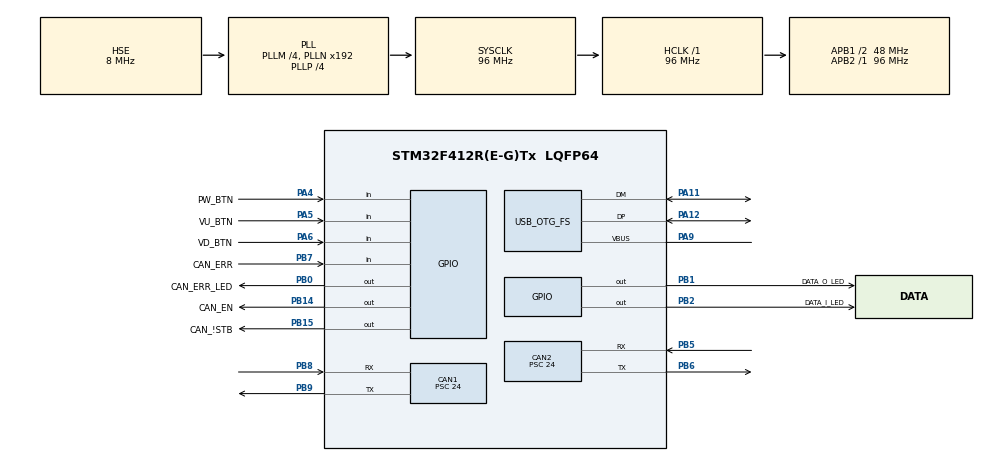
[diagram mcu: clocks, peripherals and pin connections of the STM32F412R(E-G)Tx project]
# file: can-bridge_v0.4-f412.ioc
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CAN1.ABOM=ENABLE
CAN1.BS1=CAN_BS1_13TQ
CAN1.BS2=CAN_BS2_2TQ
CAN1.CalculateBaudRate=125000
CAN1.CalculateTimeBit=8000
CAN1.CalculateTimeQuantum=500.0
CAN1.Prescaler=24
CAN1.TXFP=ENABLE
CAN2.ABOM=ENABLE
CAN2.BS1=CAN_BS1_13TQ
CAN2.BS2=CAN_BS2_2TQ
CAN2.CalculateBaudRate=125000
CAN2.CalculateTimeBit=8000
CAN2.CalculateTimeQuantum=500.0
CAN2.Prescaler=24
CAN2.TXFP=ENABLE
FREERTOS.Tasks01=defaultTask,24,128,StartDefaultTask,Default,NULL,Dynamic,NULL,NULL;sendTask50ms,16,128,sendTask50msHandler,Default,NULL,Dynamic,NULL,NULL;sendTask100ms,16,128,sendTask100msHandler,Default,NULL,Dynamic,NULL,NULL;sendTask200ms,16,128,sendTask200msHandler,Default,NULL,Dynamic,NULL,NULL;sendTask500ms,16,128,sendTask500msHandler,Default,NULL,Dynamic,NULL,NULL;sendTask1000ms,16,128,sendTask1000msHandler,Default,NULL,Dynamic,NULL,NULL;sendTask5000ms,16,128,sendTask5000msHandler,Default,NULL,Dynamic,NULL,NULL
FREERTOS.configUSE_NEWLIB_REENTRANT=1
Mcu.Family=STM32F4
Mcu.Name=STM32F412R(E-G)Tx
Mcu.Package=LQFP64
NVIC.OTG_FS_IRQn=true\:5\:0\:false\:false\:true\:true\:false\:true\:true
NVIC.PriorityGroup=NVIC_PRIORITYGROUP_4
NVIC.TIM1_UP_TIM10_IRQn=true\:15\:0\:false\:false\:true\:false\:false\:true\:true
NVIC.TimeBase=TIM1_UP_TIM10_IRQn
NVIC.TimeBaseIP=TIM1
PA11.Mode=Device_Only
PA11.Signal=USB_OTG_FS_DM
PA12.Mode=Device_Only
PA12.Signal=USB_OTG_FS_DP
PA13.Mode=JTAG_5_pins
PA13.Signal=SYS_JTMS-SWDIO
PA14.Mode=JTAG_5_pins
PA14.Signal=SYS_JTCK-SWCLK
PA15.Mode=JTAG_5_pins
PA15.Signal=SYS_JTDI
PA4.GPIO_Label=PW_BTN
PA4.Signal=GPIO_Input
PA5.GPIO_Label=VU_BTN
PA5.Signal=GPIO_Input
PA6.GPIO_Label=VD_BTN
PA6.Signal=GPIO_Input
PA9.Mode=Activate_VBUS
PA9.Signal=USB_OTG_FS_VBUS
PB0.GPIO_Label=CAN_ERR_LED
PB0.Signal=GPIO_Output
PB1.GPIO_Label=DATA_O_LED
PB1.Signal=GPIO_Output
PB14.GPIO_Label=CAN_EN
PB14.Signal=GPIO_Output
PB15.GPIO_Label=CAN_\!STB
PB15.Signal=GPIO_Output
PB2.GPIO_Label=DATA_I_LED
PB2.Signal=GPIO_Output
PB3.Mode=JTAG_5_pins
PB3.Signal=SYS_JTDO-SWO
PB4.Mode=JTAG_5_pins
PB4.Signal=SYS_JTRST
PB5.Mode=CAN_Activate
PB5.Signal=CAN2_RX
PB6.Mode=CAN_Activate
PB6.Signal=CAN2_TX
PB7.GPIO_Label=CAN_ERR
PB7.Signal=GPIO_Input
PB8.Mode=CAN_Activate
PB8.Signal=CAN1_RX
PB9.Mode=CAN_Activate
PB9.Signal=CAN1_TX
PC14-OSC32_IN.Mode=LSE-External-Oscillator
PC14-OSC32_IN.Signal=RCC_OSC32_IN
PC15-OSC32_OUT.Mode=LSE-External-Oscillator
PC15-OSC32_OUT.Signal=RCC_OSC32_OUT
PH0\ -\ OSC_IN.Mode=HSE-External-Oscillator
PH0\ -\ OSC_IN.Signal=RCC_OSC_IN
PH1\ -\ OSC_OUT.Mode=HSE-External-Oscillator
PH1\ -\ OSC_OUT.Signal=RCC_OSC_OUT
ProjectManager.HeapSize=0x200
ProjectManager.StackSize=0x400
ProjectManager.TargetToolchain=STM32CubeIDE
RCC.AHBFreq_Value=96000000
RCC.APB1CLKDivider=RCC_HCLK_DIV2
RCC.APB1Freq_Value=48000000
RCC.APB1TimFreq_Value=96000000
RCC.APB2Freq_Value=96000000
RCC.APB2TimFreq_Value=96000000
RCC.CortexFreq_Value=96000000
RCC.HCLKFreq_Value=96000000
RCC.HSE_VALUE=8000000
RCC.PLLI2SM=4
RCC.PLLI2SN=72
RCC.PLLI2SQ=3
RCC.PLLM=4
RCC.PLLP=RCC_PLLP_DIV4
RCC.PLLQ=4
RCC.SYSCLKFreq_VALUE=96000000
RCC.SYSCLKSource=RCC_SYSCLKSOURCE_PLLCLK
RCC.USBCLockSelection=RCC_CLK48CLKSOURCE_PLLI2SQ
RCC.USBFreq_Value=48000000
RCC.VCOOutputFreq_Value=384000000
USB_DEVICE.CLASS_NAME_FS=CDC
USB_DEVICE.VirtualMode=Cdc
USB_DEVICE.VirtualModeFS=Cdc_FS
USB_OTG_FS.VirtualMode=Device_Only
VP_FREERTOS_VS_CMSIS_V2.Mode=CMSIS_V2
VP_RTC_VS_RTC_Activate.Mode=RTC_Enabled
VP_RTC_VS_RTC_Calendar.Mode=RTC_Calendar
VP_SYS_VS_tim1.Mode=TIM1
VP_USB_DEVICE_VS_USB_DEVICE_CDC_FS.Mode=CDC_FS
board=custom

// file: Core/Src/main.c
/* USER CODE BEGIN Header */
/**
  ******************************************************************************
  * @file           : main.c
  * @brief          : Main program body
  ******************************************************************************
  * @attention
  *
  * Copyright (c) 2023 STMicroelectronics.
  * All rights reserved.
  *
  * This software is licensed under terms that can be found in the LICENSE file
  * in the root directory of this software component.
  * If no LICENSE file comes with this software, it is provided AS-IS.
  *
  ******************************************************************************
  */
/* USER CODE END Header */
#include "main.h"
#include "cmsis_os.h"
#include "usb_device.h"

/* USER CODE BEGIN Includes */
#include "RTC/RTC_utils.h"
#include "CAN/CAN_utils.h"
/* USER CODE END Includes */

CAN_HandleTypeDef hcan1;
CAN_HandleTypeDef hcan2;

RTC_HandleTypeDef hrtc;

/* Definitions for defaultTask */
osThreadId_t defaultTaskHandle;
const osThreadAttr_t defaultTask_attributes = {
  .name = "defaultTask",
  .stack_size = 128 * 4,
  .priority = (osPriority_t) osPriorityNormal,
};
/* Definitions for sendTask50ms */
osThreadId_t sendTask50msHandle;
const osThreadAttr_t sendTask50ms_attributes = {
  .name = "sendTask50ms",
  .stack_size = 128 * 4,
  .priority = (osPriority_t) osPriorityBelowNormal,
};
/* Definitions for sendTask100ms */
osThreadId_t sendTask100msHandle;
const osThreadAttr_t sendTask100ms_attributes = {
  .name = "sendTask100ms",
  .stack_size = 128 * 4,
  .priority = (osPriority_t) osPriorityBelowNormal,
};
/* Definitions for sendTask200ms */
osThreadId_t sendTask200msHandle;
const osThreadAttr_t sendTask200ms_attributes = {
  .name = "sendTask200ms",
  .stack_size = 128 * 4,
  .priority = (osPriority_t) osPriorityBelowNormal,
};
/* Definitions for sendTask500ms */
osThreadId_t sendTask500msHandle;
const osThreadAttr_t sendTask500ms_attributes = {
  .name = "sendTask500ms",
  .stack_size = 128 * 4,
  .priority = (osPriority_t) osPriorityBelowNormal,
};
/* Definitions for sendTask1000ms */
osThreadId_t sendTask1000msHandle;
const osThreadAttr_t sendTask1000ms_attributes = {
  .name = "sendTask1000ms",
  .stack_size = 128 * 4,
  .priority = (osPriority_t) osPriorityBelowNormal,
};
/* Definitions for sendTask5000ms */
osThreadId_t sendTask5000msHandle;
const osThreadAttr_t sendTask5000ms_attributes = {
  .name = "sendTask5000ms",
  .stack_size = 128 * 4,
  .priority = (osPriority_t) osPriorityBelowNormal,
};
/* USER CODE BEGIN PV */
Can_DataTypeDef canData = {0};
/* USER CODE END PV */

void SystemClock_Config(void);
static void MX_GPIO_Init(void);
static void MX_CAN1_Init(void);
static void MX_CAN2_Init(void);
static void MX_RTC_Init(void);
void StartDefaultTask(void *argument);
void sendTask50msHandler(void *argument);
void sendTask100msHandler(void *argument);
void sendTask200msHandler(void *argument);
void sendTask500msHandler(void *argument);
void sendTask1000msHandler(void *argument);
void sendTask5000msHandler(void *argument);

int main(void)
{

  /* MCU Configuration--------------------------------------------------------*/

  /* Reset of all peripherals, Initializes the Flash interface and the Systick. */
  HAL_Init();

  /* Configure the system clock */
  SystemClock_Config();

  /* Initialize all configured peripherals */
  MX_GPIO_Init();
  MX_CAN1_Init();
  MX_CAN2_Init();
  MX_RTC_Init();
  /* USER CODE BEGIN 2 */

  assignDefaultValues(&canData);

  if(sendCanMessage(&hcan1, &canData, 0x036) == HAL_OK)
	  canData.canErrCounter--;
  else
	  canData.canErrCounter++;

  /* USER CODE END 2 */

  /* Init scheduler */
  osKernelInitialize();

  /* Create the thread(s) */
  /* creation of defaultTask */
  defaultTaskHandle = osThreadNew(StartDefaultTask, NULL, &defaultTask_attributes);

  /* creation of sendTask50ms */
  sendTask50msHandle = osThreadNew(sendTask50msHandler, NULL, &sendTask50ms_attributes);

  /* creation of sendTask100ms */
  sendTask100msHandle = osThreadNew(sendTask100msHandler, NULL, &sendTask100ms_attributes);

  /* creation of sendTask200ms */
  sendTask200msHandle = osThreadNew(sendTask200msHandler, NULL, &sendTask200ms_attributes);

  /* creation of sendTask500ms */
  sendTask500msHandle = osThreadNew(sendTask500msHandler, NULL, &sendTask500ms_attributes);

  /* creation of sendTask1000ms */
  sendTask1000msHandle = osThreadNew(sendTask1000msHandler, NULL, &sendTask1000ms_attributes);

  /* creation of sendTask5000ms */
  sendTask5000msHandle = osThreadNew(sendTask5000msHandler, NULL, &sendTask5000ms_attributes);

  /* Start scheduler */
  osKernelStart();

  /* We should never get here as control is now taken by the scheduler */
  /* Infinite loop */
  while (1)
  {

  }
}

void SystemClock_Config(void)
{
  RCC_OscInitTypeDef RCC_OscInitStruct = {0};
  RCC_ClkInitTypeDef RCC_ClkInitStruct = {0};

  /** Configure the main internal regulator output voltage
  */
  __HAL_RCC_PWR_CLK_ENABLE();
  __HAL_PWR_VOLTAGESCALING_CONFIG(PWR_REGULATOR_VOLTAGE_SCALE1);

  /** Initializes the RCC Oscillators according to the specified parameters
  * in the RCC_OscInitTypeDef structure.
  */
  RCC_OscInitStruct.OscillatorType = RCC_OSCILLATORTYPE_LSI|RCC_OSCILLATORTYPE_HSE;
  RCC_OscInitStruct.HSEState = RCC_HSE_ON;
  RCC_OscInitStruct.LSEState = RCC_LSE_ON;
  RCC_OscInitStruct.LSIState = RCC_LSI_ON;
  RCC_OscInitStruct.PLL.PLLState = RCC_PLL_ON;
  RCC_OscInitStruct.PLL.PLLSource = RCC_PLLSOURCE_HSE;
  RCC_OscInitStruct.PLL.PLLM = 4;
  RCC_OscInitStruct.PLL.PLLN = 192;
  RCC_OscInitStruct.PLL.PLLP = RCC_PLLP_DIV4;
  RCC_OscInitStruct.PLL.PLLQ = 4;
  RCC_OscInitStruct.PLL.PLLR = 2;
  if (HAL_RCC_OscConfig(&RCC_OscInitStruct) != HAL_OK)
  {
    Error_Handler();
  }

  /** Initializes the CPU, AHB and APB buses clocks
  */
  RCC_ClkInitStruct.ClockType = RCC_CLOCKTYPE_HCLK|RCC_CLOCKTYPE_SYSCLK
                              |RCC_CLOCKTYPE_PCLK1|RCC_CLOCKTYPE_PCLK2;
  RCC_ClkInitStruct.SYSCLKSource = RCC_SYSCLKSOURCE_PLLCLK;
  RCC_ClkInitStruct.AHBCLKDivider = RCC_SYSCLK_DIV1;
  RCC_ClkInitStruct.APB1CLKDivider = RCC_HCLK_DIV2;
  RCC_ClkInitStruct.APB2CLKDivider = RCC_HCLK_DIV1;

  if (HAL_RCC_ClockConfig(&RCC_ClkInitStruct, FLASH_LATENCY_3) != HAL_OK)
  {
    Error_Handler();
  }
}

static void MX_CAN1_Init(void)
{

  hcan1.Instance = CAN1;
  hcan1.Init.Prescaler = 24;
  hcan1.Init.Mode = CAN_MODE_NORMAL;
  hcan1.Init.SyncJumpWidth = CAN_SJW_1TQ;
  hcan1.Init.TimeSeg1 = CAN_BS1_13TQ;
  hcan1.Init.TimeSeg2 = CAN_BS2_2TQ;
  hcan1.Init.TimeTriggeredMode = DISABLE;
  hcan1.Init.AutoBusOff = ENABLE;
  hcan1.Init.AutoWakeUp = DISABLE;
  hcan1.Init.AutoRetransmission = DISABLE;
  hcan1.Init.ReceiveFifoLocked = DISABLE;
  hcan1.Init.TransmitFifoPriority = ENABLE;
  if (HAL_CAN_Init(&hcan1) != HAL_OK)
  {
    Error_Handler();
  }

}

static void MX_CAN2_Init(void)
{

  hcan2.Instance = CAN2;
  hcan2.Init.Prescaler = 24;
  hcan2.Init.Mode = CAN_MODE_NORMAL;
  hcan2.Init.SyncJumpWidth = CAN_SJW_1TQ;
  hcan2.Init.TimeSeg1 = CAN_BS1_13TQ;
  hcan2.Init.TimeSeg2 = CAN_BS2_2TQ;
  hcan2.Init.TimeTriggeredMode = DISABLE;
  hcan2.Init.AutoBusOff = ENABLE;
  hcan2.Init.AutoWakeUp = DISABLE;
  hcan2.Init.AutoRetransmission = DISABLE;
  hcan2.Init.ReceiveFifoLocked = DISABLE;
  hcan2.Init.TransmitFifoPriority = ENABLE;
  if (HAL_CAN_Init(&hcan2) != HAL_OK)
  {
    Error_Handler();
  }

}

static void MX_RTC_Init(void)
{

  RTC_TimeTypeDef sTime = {0};
  RTC_DateTypeDef sDate = {0};

  /** Initialize RTC Only
  */
  hrtc.Instance = RTC;
  hrtc.Init.HourFormat = RTC_HOURFORMAT_24;
  hrtc.Init.AsynchPrediv = 127;
  hrtc.Init.SynchPrediv = 255;
  hrtc.Init.OutPut = RTC_OUTPUT_DISABLE;
  hrtc.Init.OutPutPolarity = RTC_OUTPUT_POLARITY_HIGH;
  hrtc.Init.OutPutType = RTC_OUTPUT_TYPE_OPENDRAIN;
  if (HAL_RTC_Init(&hrtc) != HAL_OK)
  {
    Error_Handler();
  }

  /* USER CODE BEGIN Check_RTC_BKUP */
  if(HAL_RTCEx_BKUPRead(&hrtc, RTC_BKP_DR9) == '*')
  {
	  //Time is OK.
	  return;
  }
  /* USER CODE END Check_RTC_BKUP */

  /** Initialize RTC and set the Time and Date
  */
  sTime.Hours = 0x0;
  sTime.Minutes = 0x0;
  sTime.Seconds = 0x0;
  sTime.DayLightSaving = RTC_DAYLIGHTSAVING_NONE;
  sTime.StoreOperation = RTC_STOREOPERATION_RESET;
  if (HAL_RTC_SetTime(&hrtc, &sTime, RTC_FORMAT_BCD) != HAL_OK)
  {
    Error_Handler();
  }
  sDate.WeekDay = RTC_WEEKDAY_MONDAY;
  sDate.Month = RTC_MONTH_JANUARY;
  sDate.Date = 0x1;
  sDate.Year = 0x0;

  if (HAL_RTC_SetDate(&hrtc, &sDate, RTC_FORMAT_BCD) != HAL_OK)
  {
    Error_Handler();
  }

}

static void MX_GPIO_Init(void)
{
  GPIO_InitTypeDef GPIO_InitStruct = {0};

  /* GPIO Ports Clock Enable */
  __HAL_RCC_GPIOC_CLK_ENABLE();
  __HAL_RCC_GPIOH_CLK_ENABLE();
  __HAL_RCC_GPIOA_CLK_ENABLE();
  __HAL_RCC_GPIOB_CLK_ENABLE();

  /*Configure GPIO pin Output Level */
  HAL_GPIO_WritePin(GPIOB, CAN_ERR_LED_Pin|DATA_O_LED_Pin|DATA_I_LED_Pin|CAN_EN_Pin
                          |CAN__STB_Pin, GPIO_PIN_RESET);

  /*Configure GPIO pins : PW_BTN_Pin VU_BTN_Pin VD_BTN_Pin */
  GPIO_InitStruct.Pin = PW_BTN_Pin|VU_BTN_Pin|VD_BTN_Pin;
  GPIO_InitStruct.Mode = GPIO_MODE_INPUT;
  GPIO_InitStruct.Pull = GPIO_NOPULL;
  HAL_GPIO_Init(GPIOA, &GPIO_InitStruct);

  /*Configure GPIO pins : CAN_ERR_LED_Pin DATA_O_LED_Pin DATA_I_LED_Pin CAN_EN_Pin
                           CAN__STB_Pin */
  GPIO_InitStruct.Pin = CAN_ERR_LED_Pin|DATA_O_LED_Pin|DATA_I_LED_Pin|CAN_EN_Pin
                          |CAN__STB_Pin;
  GPIO_InitStruct.Mode = GPIO_MODE_OUTPUT_PP;
  GPIO_InitStruct.Pull = GPIO_NOPULL;
  GPIO_InitStruct.Speed = GPIO_SPEED_FREQ_LOW;
  HAL_GPIO_Init(GPIOB, &GPIO_InitStruct);

  /*Configure GPIO pin : CAN_ERR_Pin */
  GPIO_InitStruct.Pin = CAN_ERR_Pin;
  GPIO_InitStruct.Mode = GPIO_MODE_INPUT;
  GPIO_InitStruct.Pull = GPIO_NOPULL;
  HAL_GPIO_Init(CAN_ERR_GPIO_Port, &GPIO_InitStruct);

}

void StartDefaultTask(void *argument)
{
  /* init code for USB_DEVICE */
  MX_USB_DEVICE_Init();
  for(;;)
  {
    osDelay(1);
  }
}

void sendTask50msHandler(void *argument)
{
  /* USER CODE BEGIN sendTask50msHandler */
	TickType_t xLastWakeTime;
	const TickType_t xFrequency = 50 / portTICK_PERIOD_MS;

	xLastWakeTime = xTaskGetTickCount();
  /* Infinite loop */
  for(;;)
  {
	  vTaskDelayUntil(&xLastWakeTime, xFrequency);
  }
  /* USER CODE END sendTask50msHandler */
}

void sendTask100msHandler(void *argument)
{
  /* USER CODE BEGIN sendTask100msHandler */
	TickType_t xLastWakeTime;
	const TickType_t xFrequency = 100 / portTICK_PERIOD_MS;

	xLastWakeTime = xTaskGetTickCount();
  /* Infinite loop */
  for(;;)
  {
	  vTaskDelayUntil(&xLastWakeTime, xFrequency);
  }
  /* USER CODE END sendTask100msHandler */
}

void sendTask200msHandler(void *argument)
{
  /* USER CODE BEGIN sendTask200msHandler */
	TickType_t xLastWakeTime;
	const TickType_t xFrequency = 200 / portTICK_PERIOD_MS;

	xLastWakeTime = xTaskGetTickCount();
  /* Infinite loop */
  for(;;)
  {
	  vTaskDelayUntil(&xLastWakeTime, xFrequency);
  }
  /* USER CODE END sendTask200msHandler */
}

void sendTask500msHandler(void *argument)
{
  /* USER CODE BEGIN sendTask500msHandler */
	TickType_t xLastWakeTime;
	const TickType_t xFrequency = 500 / portTICK_PERIOD_MS;

	xLastWakeTime = xTaskGetTickCount();
  /* Infinite loop */
  for(;;)
  {
	  vTaskDelayUntil(&xLastWakeTime, xFrequency);
  }
  /* USER CODE END sendTask500msHandler */
}

void sendTask1000msHandler(void *argument)
{
  /* USER CODE BEGIN sendTask1000msHandler */
	TickType_t xLastWakeTime;
	const TickType_t xFrequency = 1000 / portTICK_PERIOD_MS;

	xLastWakeTime = xTaskGetTickCount();
  /* Infinite loop */
  for(;;)
  {
	  vTaskDelayUntil(&xLastWakeTime, xFrequency);
  }
  /* USER CODE END sendTask1000msHandler */
}

void sendTask5000msHandler(void *argument)
{
  /* USER CODE BEGIN sendTask5000msHandler */
	TickType_t xLastWakeTime;
	const TickType_t xFrequency = 5000 / portTICK_PERIOD_MS;

	xLastWakeTime = xTaskGetTickCount();
  /* Infinite loop */
  for(;;)
  {
	  vTaskDelayUntil(&xLastWakeTime, xFrequency);
  }
  /* USER CODE END sendTask5000msHandler */
}

void HAL_TIM_PeriodElapsedCallback(TIM_HandleTypeDef *htim)
{
  if (htim->Instance == TIM1) {
    HAL_IncTick();
  }
}

void Error_Handler(void)
{
  __disable_irq();
  while (1)
  {
  }
}
